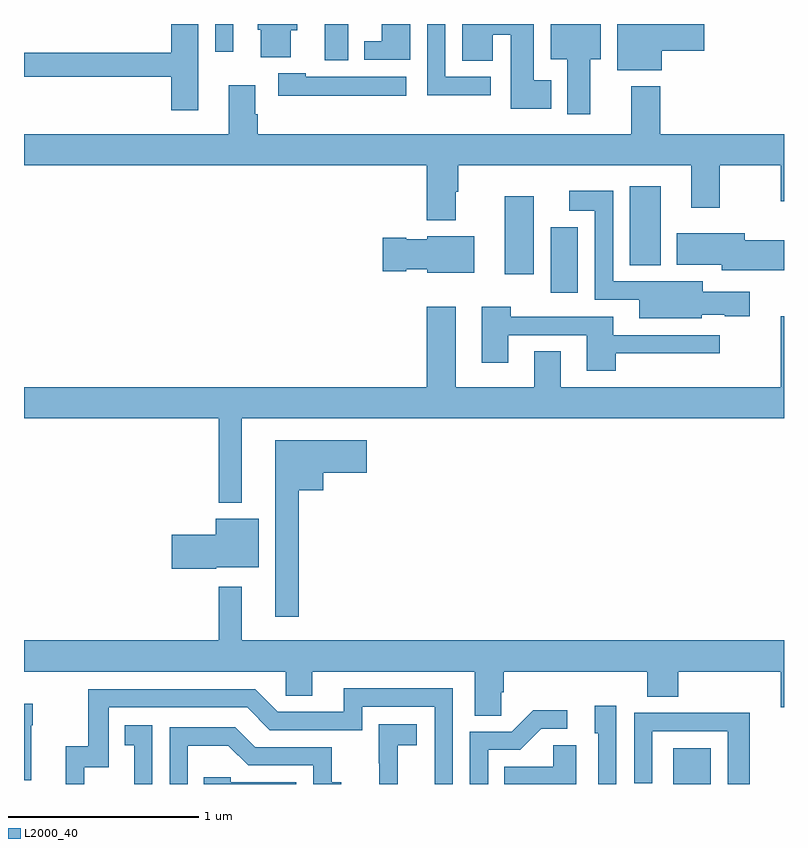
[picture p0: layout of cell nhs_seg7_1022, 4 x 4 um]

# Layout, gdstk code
import gdstk
lib = gdstk.Library(unit=1e-6, precision=1e-09)
def R(c, l, rs):  # rectangles x0, y0, x1, y1
    for r in rs: c.add(gdstk.rectangle(r[:2], r[2:], *l))
def P(c, l, *ps):  # polygons
    for p in ps: c.add(gdstk.Polygon(p, *l))
L2000_40 = (2000, 40)

nhs_seg7_1022 = lib.new_cell('nhs_seg7_1022')
R(nhs_seg7_1022, L2000_40, [(188.417,1024,188.614,1024.189), (187.772,1026.585,187.915,1026.931), (187.529,1026.684,187.684,1027.093), (188.189,1026.731,188.35,1027.147), (186.584,1027.808,186.706,1028), (186.006,1027.853,186.102,1028)])
P(nhs_seg7_1022, L2000_40, [(187.981,1027.814),(188.035,1027.814),(188.035,1028),(187.772,1028),(187.772,1027.814),(187.859,1027.814),(187.859,1027.524),(187.981,1027.524)],
  [(187.774,1027.705),(187.684,1027.705),(187.684,1028),(187.307,1028),(187.307,1027.807),(187.468,1027.807),(187.468,1027.943),(187.562,1027.943),(187.562,1027.553),(187.774,1027.553)],
  [(185.917,1028),(185.774,1028),(185.774,1027.85),(185,1027.85),(185,1027.722),(185.774,1027.722),(185.774,1027.545),(185.917,1027.545)],
  [(186.403,1027.967),(186.439,1027.967),(186.439,1028),(186.23,1028),(186.23,1027.971),(186.245,1027.971),(186.245,1027.826),(186.403,1027.826)],
  [(188.356,1027.858),(188.581,1027.858),(188.581,1028),(188.123,1028),(188.123,1027.757),(188.356,1027.757)],
  [(187.456,1027.722),(187.218,1027.722),(187.218,1028),(187.122,1028),(187.122,1027.625),(187.456,1027.625)],
  [(187.033,1028),(186.884,1028),(186.884,1027.908),(186.791,1027.908),(186.791,1027.812),(187.033,1027.812)],
  [(187.012,1027.723),(186.483,1027.723),(186.483,1027.741),(186.339,1027.741),(186.339,1027.622),(187.012,1027.622)],
  [(187.273,1027.118),(187.286,1027.118),(187.286,1027.256),(188.513,1027.256),(188.513,1027.032),(188.661,1027.032),(188.661,1027.256),(188.984,1027.256),(188.984,1027.068),(189,1027.068),(189,1027.42),(188.348,1027.42),(188.348,1027.672),(188.195,1027.672),(188.195,1027.42),(186.23,1027.42),(186.23,1027.526),(186.217,1027.526),(186.217,1027.678),(186.077,1027.678),(186.077,1027.42),(185,1027.42),(185,1027.256),(187.121,1027.256),(187.121,1026.968),(187.273,1026.968)],
  [(188.568,1026.47),(188.688,1026.47),(188.688,1026.463),(188.821,1026.463),(188.821,1026.592),(188.572,1026.592),(188.572,1026.646),(188.346,1026.646),(188.346,1026.645),(188.1,1026.645),(188.1,1027.123),(187.869,1027.123),(187.869,1027.016),(188.004,1027.016),(188.004,1026.549),(188.237,1026.549),(188.237,1026.452),(188.568,1026.452)],
  [(189,1026.862),(188.794,1026.862),(188.794,1026.898),(188.435,1026.898),(188.435,1026.734),(188.672,1026.734),(188.672,1026.704),(189,1026.704)],
  [(187.369,1026.883),(187.122,1026.883),(187.122,1026.868),(187.011,1026.868),(187.011,1026.876),(186.888,1026.876),(186.888,1026.698),(187.011,1026.698),(187.011,1026.71),(187.122,1026.71),(187.122,1026.692),(187.369,1026.692)],
  [(186.145,1025.924),(189,1025.924),(189,1026.463),(188.984,1026.463),(188.984,1026.088),(187.825,1026.088),(187.825,1026.278),(187.685,1026.278),(187.685,1026.088),(187.273,1026.088),(187.273,1026.511),(187.121,1026.511),(187.121,1026.088),(185,1026.088),(185,1025.924),(186.024,1025.924),(186.024,1025.48),(186.145,1025.48)],
  [(188.114,1026.266),(188.662,1026.266),(188.662,1026.363),(188.101,1026.363),(188.101,1026.459),(187.562,1026.459),(187.562,1026.511),(187.409,1026.511),(187.409,1026.216),(187.549,1026.216),(187.549,1026.363),(187.961,1026.363),(187.961,1026.174),(188.114,1026.174)],
  [(186.445,1025.546),(186.574,1025.546),(186.574,1025.639),(186.805,1025.639),(186.805,1025.809),(186.323,1025.809),(186.323,1024.881),(186.445,1024.881)],
  [(186.012,1025.141),(186.235,1025.141),(186.235,1025.395),(186.008,1025.395),(186.008,1025.312),(185.778,1025.312),(185.778,1025.134),(186.012,1025.134)],
  [(187.512,1024.483),(187.526,1024.483),(187.526,1024.592),(188.279,1024.592),(188.279,1024.459),(188.444,1024.459),(188.444,1024.592),(188.984,1024.592),(188.984,1024.404),(189,1024.404),(189,1024.756),(186.145,1024.756),(186.145,1025.038),(186.024,1025.038),(186.024,1024.756),(185,1024.756),(185,1024.592),(186.378,1024.592),(186.378,1024.465),(186.517,1024.465),(186.517,1024.592),(187.373,1024.592),(187.373,1024.36),(187.512,1024.36)],
  [(185.316,1024.089),(185.445,1024.089),(185.445,1024.404),(186.174,1024.404),(186.294,1024.284),(186.78,1024.284),(186.78,1024.407),(187.161,1024.407),(187.161,1024),(187.257,1024),(187.257,1024.503),(186.683,1024.503),(186.683,1024.38),(186.336,1024.38),(186.216,1024.5),(185.337,1024.5),(185.337,1024.198),(185.219,1024.198),(185.219,1024),(185.316,1024)],
  [(185.038,1024.31),(185.046,1024.31),(185.046,1024.423),(185,1024.423),(185,1024.019),(185.038,1024.019)],
  [(188.118,1024.411),(188.003,1024.411),(188.003,1024.266),(188.022,1024.266),(188.022,1024),(188.118,1024)],
  [(187.443,1024.179),(187.612,1024.179),(187.723,1024.29),(187.858,1024.29),(187.858,1024.388),(187.679,1024.388),(187.566,1024.275),(187.347,1024.275),(187.347,1024),(187.443,1024)],
  [(188.819,1024.376),(188.527,1024.376),(188.527,1024.374),(188.211,1024.374),(188.211,1024.005),(188.307,1024.005),(188.307,1024.278),(188.703,1024.278),(188.703,1024),(188.819,1024)],
  [(186.968,1024.205),(187.066,1024.205),(187.066,1024.315),(186.868,1024.315),(186.868,1024.109),(186.869,1024.109),(186.869,1024),(186.968,1024)],
  [(185.676,1024.309),(185.53,1024.309),(185.53,1024.203),(185.579,1024.203),(185.579,1024),(185.676,1024)],
  [(185.862,1024.202),(186.076,1024.202),(186.18,1024.098),(186.522,1024.098),(186.522,1024),(186.67,1024),(186.67,1024.009),(186.621,1024.009),(186.621,1024.194),(186.217,1024.194),(186.112,1024.299),(185.766,1024.299),(185.766,1024),(185.862,1024)],
  [(187.906,1024.205),(187.785,1024.205),(187.785,1024.09),(187.528,1024.09),(187.528,1024),(187.906,1024)],
  [(186.432,1024.008),(186.087,1024.008),(186.087,1024.035),(185.947,1024.035),(185.947,1024),(186.432,1024)])

lib.write_gds('nhs_seg7_1022.gds')
